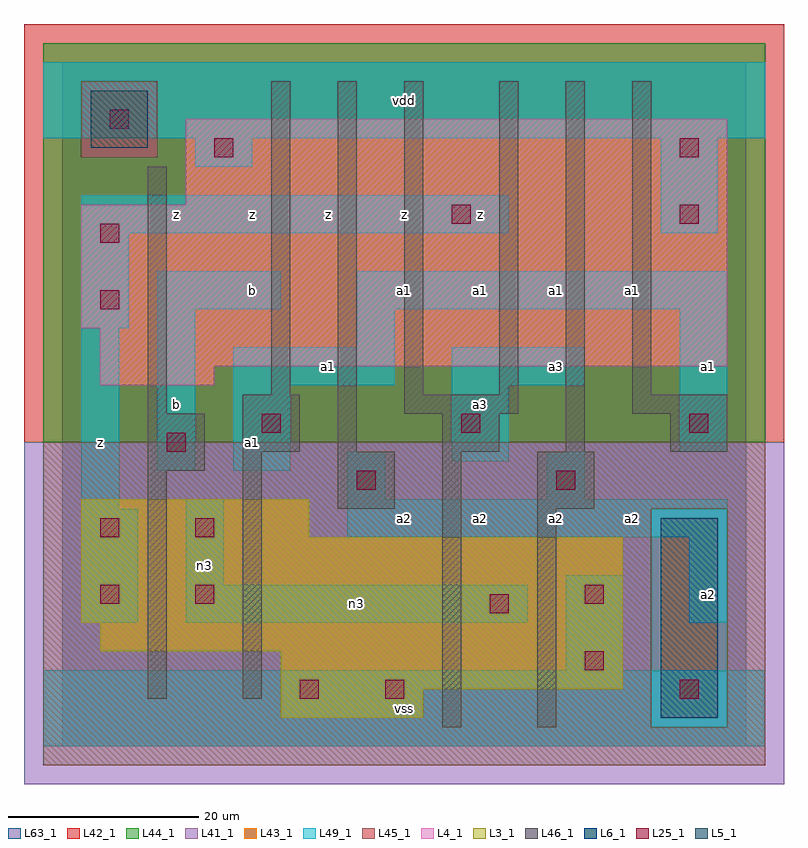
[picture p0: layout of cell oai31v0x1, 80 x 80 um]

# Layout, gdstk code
import gdstk
lib = gdstk.Library(unit=1e-6, precision=1e-09)
def R(c, l, rs):  # rectangles x0, y0, x1, y1
    for r in rs: c.add(gdstk.rectangle(r[:2], r[2:], *l))
L3_1 = (3, 1)
L4_1 = (4, 1)
L5_1 = (5, 1)
L6_1 = (6, 1)
L25_1 = (25, 1)
L41_1 = (41, 1)
L42_1 = (42, 1)
L43_1 = (43, 1)
L44_1 = (44, 1)
L45_1 = (45, 1)
L46_1 = (46, 1)
L49_1 = (49, 1)
L63_1 = (63, 1)

oai31v0x1 = lib.new_cell('oai31v0x1')
R(oai31v0x1, L3_1, [(23,3,38,6), (23,6,59,10), (4,10,59,13), (2,13,59,22), (2,22,26,26)])
R(oai31v0x1, L4_1, [(4,38,16,40), (4,40,70,44), (2,44,70,57), (13,57,70,66)])
R(oai31v0x1, L5_1, [(3,63,9,69)])
R(oai31v0x1, L6_1, [(63,3,69,24), (63,3,69,24)])
R(oai31v0x1, L25_1, [(25,5,27,7), (34,5,36,7), (65,5,67,7), (55,8,57,10), (45,14,47,16), (4,15,6,17), (14,15,16,17), (55,15,57,17), (4,22,6,24), (14,22,16,24), (31,27,33,29), (52,27,54,29), (11,31,13,33), (21,33,23,35), (42,33,44,35), (66,33,68,35), (4,46,6,48), (4,53,6,55), (41,55,43,57), (65,55,67,57), (16,62,18,64), (65,62,67,64), (5,65,7,67)])
R(oai31v0x1, L41_1, [(-4,-4,76,32)])
R(oai31v0x1, L42_1, [(-4,32,76,76)])
R(oai31v0x1, L43_1, [(23,3,38,6), (63,3,69,24), (23,6,59,10), (4,10,59,13), (2,13,59,22), (2,22,26,26), (4,38,16,40), (4,40,70,44), (2,44,70,57), (13,57,70,66), (3,63,9,69)])
R(oai31v0x1, L44_1, [(62,2,70,25), (-2,32,74,62), (-2,62,2,70), (10,62,74,70), (-2,70,74,74)])
R(oai31v0x1, L45_1, [(-2,-2,74,2), (-2,2,62,25), (70,2,74,25), (-2,25,74,32), (2,62,10,70)])
R(oai31v0x1, L46_1, [(40,2,42,31), (50,2,52,25), (9,5,11,29), (19,5,21,31), (29,25,35,31), (50,25,56,31), (9,29,15,35), (19,31,25,37), (29,31,31,70), (40,31,46,35), (53,31,55,70), (64,31,70,35), (9,35,11,61), (36,35,48,37), (60,35,70,37), (22,37,24,70), (36,37,38,70), (46,37,48,70), (60,37,62,70)])
R(oai31v0x1, L49_1, [(-2,0,74,8), (53,8,59,18), (2,13,8,25), (13,13,49,17), (66,13,70,22), (13,17,17,26), (30,22,70,26), (2,25,6,44), (30,26,34,31), (51,26,55,31), (10,29,14,46), (18,29,24,38), (41,30,47,38), (65,31,70,46), (18,38,35,42), (41,38,55,42), (31,42,35,46), (2,44,7,54), (10,46,23,50), (31,46,70,50), (2,54,47,58), (63,54,69,64), (14,61,20,64), (-2,64,74,72)])
R(oai31v0x1, L63_1, [(0,0,72,72)])
oai31v0x1.add(gdstk.Label('z', (4,32), layer=49, texttype=1))
oai31v0x1.add(gdstk.Label('n3', (15,19), layer=49, texttype=1))
oai31v0x1.add(gdstk.Label('a1', (20,32), layer=49, texttype=1))
oai31v0x1.add(gdstk.Label('b', (12,36), layer=49, texttype=1))
oai31v0x1.add(gdstk.Label('b', (20,48), layer=49, texttype=1))
oai31v0x1.add(gdstk.Label('z', (20,56), layer=49, texttype=1))
oai31v0x1.add(gdstk.Label('z', (12,56), layer=49, texttype=1))
oai31v0x1.add(gdstk.Label('vss', (36,4), layer=49, texttype=1))
oai31v0x1.add(gdstk.Label('a2', (36,24), layer=49, texttype=1))
oai31v0x1.add(gdstk.Label('a1', (28,40), layer=49, texttype=1))
oai31v0x1.add(gdstk.Label('a1', (36,48), layer=49, texttype=1))
oai31v0x1.add(gdstk.Label('z', (36,56), layer=49, texttype=1))
oai31v0x1.add(gdstk.Label('z', (28,56), layer=49, texttype=1))
oai31v0x1.add(gdstk.Label('vdd', (36,68), layer=49, texttype=1))
oai31v0x1.add(gdstk.Label('n3', (31,15), layer=49, texttype=1))
oai31v0x1.add(gdstk.Label('a2', (44,24), layer=49, texttype=1))
oai31v0x1.add(gdstk.Label('a2', (52,24), layer=49, texttype=1))
oai31v0x1.add(gdstk.Label('a3', (44,36), layer=49, texttype=1))
oai31v0x1.add(gdstk.Label('a3', (52,40), layer=49, texttype=1))
oai31v0x1.add(gdstk.Label('a1', (44,48), layer=49, texttype=1))
oai31v0x1.add(gdstk.Label('a1', (52,48), layer=49, texttype=1))
oai31v0x1.add(gdstk.Label('z', (44,56), layer=49, texttype=1))
oai31v0x1.add(gdstk.Label('a2', (68,16), layer=49, texttype=1))
oai31v0x1.add(gdstk.Label('a2', (60,24), layer=49, texttype=1))
oai31v0x1.add(gdstk.Label('a1', (68,40), layer=49, texttype=1))
oai31v0x1.add(gdstk.Label('a1', (60,48), layer=49, texttype=1))

lib.write_gds('oai31v0x1.gds')
